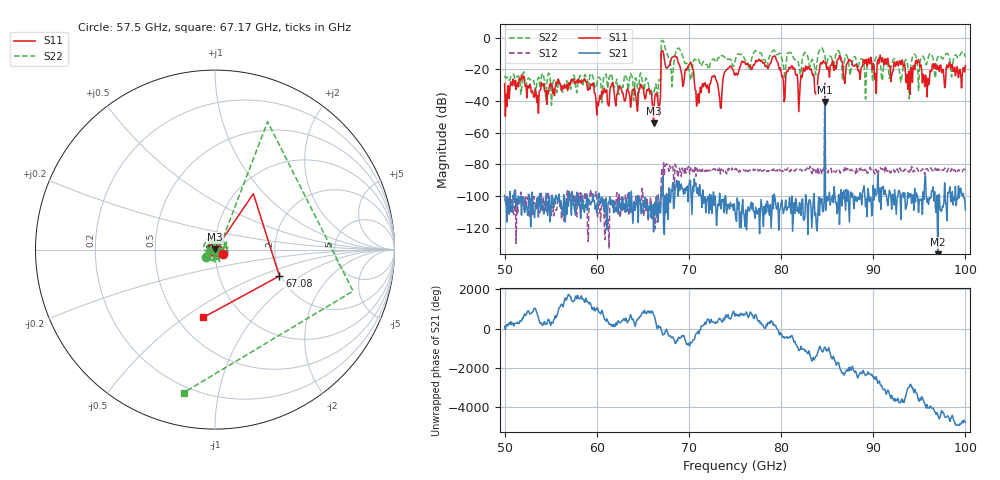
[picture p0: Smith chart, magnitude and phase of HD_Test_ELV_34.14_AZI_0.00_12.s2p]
! 11/25/2026 9:14:50 AM
! C:\ANRITSUVNA\TEMP\TEMP.S2P
! CHANNEL.1
! TR.MEASUREMENT
! RAW.DATA
# HZ S RI R 50.0
! FREQ.HZ  S11RE  S11IM  S21RE  S21IM  S12RE  S12IM  S22RE  S22IM
!; PortSelection: Port_12
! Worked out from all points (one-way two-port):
!   601 points, 50 GHz to 100 GHz, reference 50 ohm
!   highest |S21| = -40.67 dB at 84.75 GHz (marker M1); lowest = -137.0 dB at 97 GHz (marker M2)
!   lowest |S11| = -54.2 dB at 66.17 GHz (marker M3), VSWR 1.00, Z = 50.1 + j0.154 ohm
!   |S11| at or under -10 dB: start of sweep to 67 GHz; 67.24 GHz to end of sweep
!   |S22| runs from -42.7 to -1.8 dB; largest |S21 - S12| = 0.045
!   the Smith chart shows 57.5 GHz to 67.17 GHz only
!   S11 on the Smith chart (normalised r, x): 57.5 GHz: 1.09, -0.05; 67.08 GHz: 1.96, -0.68; 67.17 GHz: 0.67, -0.59
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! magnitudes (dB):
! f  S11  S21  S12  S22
! 50 GHz  -29.2  -99.7  -102.2  -25.3
! 57.5 GHz  -26.3  -104.6  -99.2  -23.7
! 58.42 GHz  -27.2  -99.5  -108.3  -29.0
! 60.17 GHz  -43.1  -100.2  -104.9  -24.8
! 61.67 GHz  -28.7  -104.2  -104.0  -24.5
! 66.17 GHz  -54.2  -122.8  -105.4  -35.4
! 66.67 GHz  -41.9  -116.3  -99.2  -32.1
! 67.08 GHz  -8.2  -98.0  -82.5  -1.9
! 67.17 GHz  -8.3  -87.6  -99.6  -1.8
! 70.17 GHz  -15.5  -91.0  -82.3  -25.7
! 70.92 GHz  -40.7  -98.6  -85.3  -13.3
! 75 GHz  -23.7  -109.7  -83.1  -15.0
! 79.25 GHz  -11.8  -98.9  -82.4  -7.9
! 80.25 GHz  -27.6  -111.1  -84.4  -17.7
! 83.42 GHz  -23.7  -111.6  -82.5  -13.8
! 84.75 GHz  -16.0  -40.7  -28.8  -11.1
! 91.67 GHz  -16.7  -101.4  -83.1  -20.5
! 93.75 GHz  -32.6  -97.9  -84.4  -17.3
! 94.83 GHz  -15.0  -101.0  -83.2  -20.3
! 95.83 GHz  -37.4  -103.9  -82.7  -15.9
! 97 GHz  -17.6  -137.0  -82.9  -12.2
! 100 GHz  -17.7  -108.8  -83.6  -12.2
